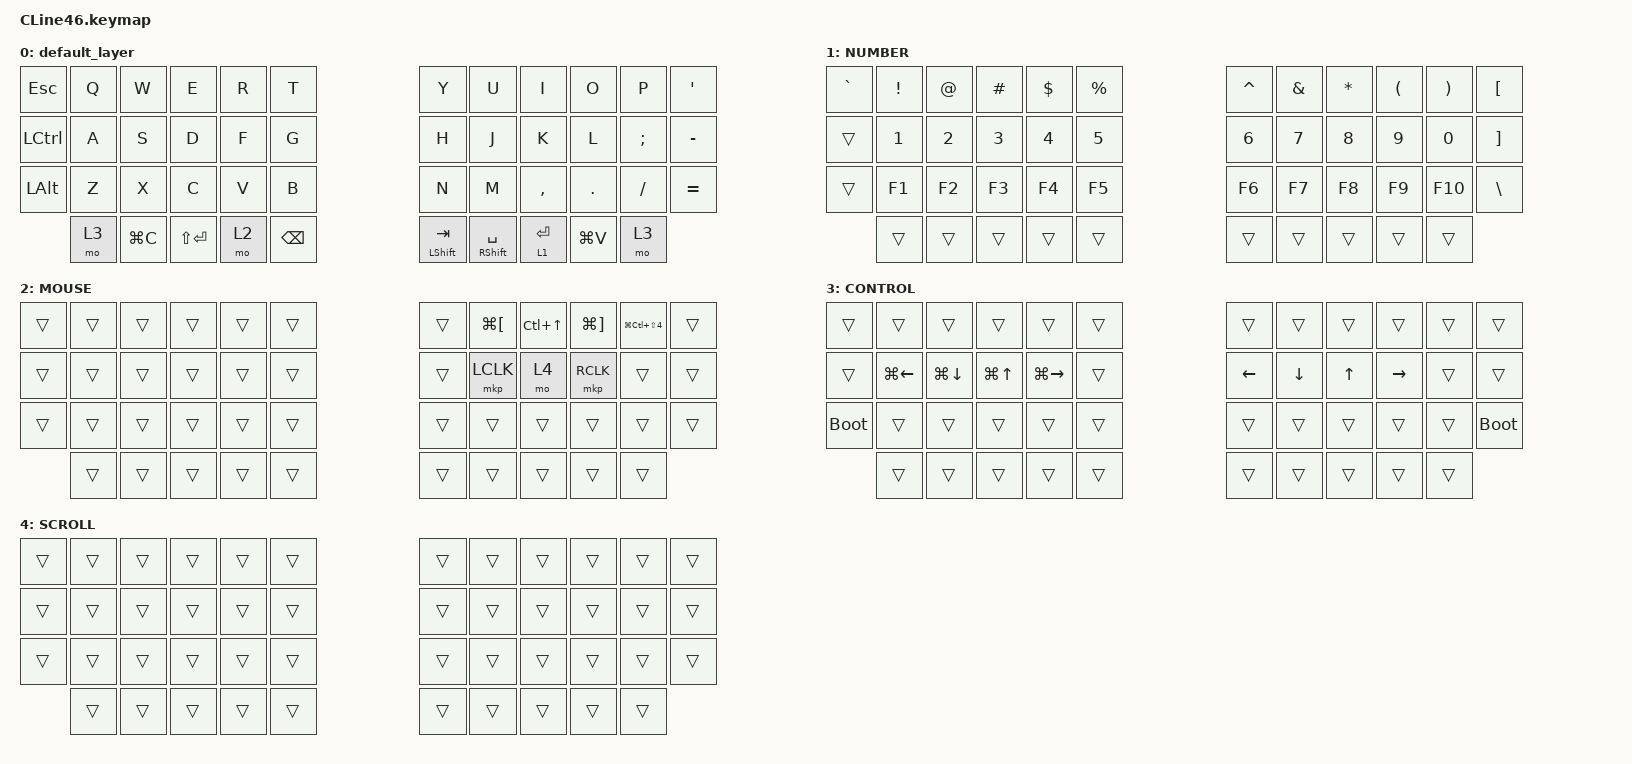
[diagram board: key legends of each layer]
#include <input/processors.dtsi>
#include <dt-bindings/zmk/input_transform.h>
#include <zephyr/dt-bindings/input/input-event-codes.h>
#include <behaviors.dtsi>
#include <dt-bindings/zmk/bt.h>
#include <dt-bindings/zmk/keys.h>
#include <dt-bindings/zmk/pointing.h>

&mt {
    flavor = "balanced";
    quick-tap-ms = <0>;
};

/ {
    combos {
        compatible = "zmk,combos";

        R_GUI {
            bindings = <&kp RIGHT_GUI>;
            key-positions = <19 20>;
        };

        L_GUI {
            bindings = <&kp LEFT_GUI>;
            key-positions = <16 15>;
        };

        BT0 {
            bindings = <&bt BT_SEL 0>;
            key-positions = <5 6>;
        };

        BT1 {
            bindings = <&bt BT_SEL 1>;
            key-positions = <17 18>;
        };

        BT2 {
            bindings = <&bt BT_SEL 2>;
            key-positions = <29 30>;
        };
    };

    behaviors {
        mt_d: mt_d {
            compatible = "zmk,behavior-hold-tap";
            label = "MT_D";
            bindings = <&kp>, <&kp>;

            #binding-cells = <2>;
            flavor = "balanced";
            quick-tap-ms = <175>;
            tapping-term-ms = <280>;
            require-prior-idle-ms = <150>;
        };
    };

    keymap {
        compatible = "zmk,keymap";

        default_layer {
            bindings = <
&kp ESC       &kp Q  &kp W      &kp E          &kp R  &kp T                                             &kp Y        &kp U  &kp I      &kp O      &kp P          &kp SQT
&kp LCTRL     &kp A  &kp S      &kp D          &kp F  &kp G                                             &kp H        &kp J  &kp K      &kp L      &kp SEMICOLON  &kp MINUS
&kp LEFT_ALT  &kp Z  &kp X      &kp C          &kp V  &kp B                                             &kp N        &kp M  &kp COMMA  &kp DOT    &kp SLASH      &kp EQUAL
              &mo 3  &kp LG(C)  &kp LS(ENTER)  &mo 2  &kp BACKSPACE  &mt LSHFT TAB    &mt RSHIFT SPACE  &lt 1 ENTER                    &kp LG(V)  &mo 3
            >;
        };

        NUMBER {
            bindings = <
&kp GRAVE  &kp EXCLAMATION  &kp AT_SIGN  &kp HASH  &kp DOLLAR  &kp PERCENT                    &kp CARET  &kp AMPERSAND  &kp ASTERISK  &kp LEFT_PARENTHESIS  &kp RIGHT_PARENTHESIS  &kp LEFT_BRACKET
&trans     &kp N1           &kp N2       &kp N3    &kp N4      &kp N5                         &kp N6     &kp N7         &kp N8        &kp N9                &kp N0                 &kp RIGHT_BRACKET
&trans     &kp F1           &kp F2       &kp F3    &kp F4      &kp F5                         &kp F6     &kp F7         &kp F8        &kp F9                &kp F10                &kp BACKSLASH
           &trans           &trans       &trans    &trans      &trans       &trans    &trans  &trans                                  &trans                &trans
            >;
        };

        MOUSE {
            bindings = <
&trans  &trans  &trans  &trans  &trans  &trans                    &trans  &kp LG(LEFT_BRACKET)  &kp LC(UP)  &kp LG(RIGHT_BRACKET)  &kp LG(LC(LS(NUMBER_4)))  &trans
&trans  &trans  &trans  &trans  &trans  &trans                    &trans  &mkp LCLK             &mo 4       &mkp RCLK              &trans                    &trans
&trans  &trans  &trans  &trans  &trans  &trans                    &trans  &trans                &trans      &trans                 &trans                    &trans
        &trans  &trans  &trans  &trans  &trans  &trans    &trans  &trans                                    &trans                 &trans
            >;
        };

        CONTROL {
            bindings = <
&trans       &trans              &trans        &trans            &trans         &trans                    &trans          &trans          &trans  &trans           &trans  &trans
&trans       &kp LG(LEFT_ARROW)  &kp LG(DOWN)  &kp LG(UP_ARROW)  &kp LG(RIGHT)  &trans                    &kp LEFT_ARROW  &kp DOWN_ARROW  &kp UP  &kp RIGHT_ARROW  &trans  &trans
&bootloader  &trans              &trans        &trans            &trans         &trans                    &trans          &trans          &trans  &trans           &trans  &bootloader
             &trans              &trans        &trans            &trans         &trans  &trans    &trans  &trans                                  &trans           &trans
            >;
        };

        SCROLL {
            bindings = <
&trans  &trans  &trans  &trans  &trans  &trans                    &trans  &trans  &trans  &trans  &trans  &trans
&trans  &trans  &trans  &trans  &trans  &trans                    &trans  &trans  &trans  &trans  &trans  &trans
&trans  &trans  &trans  &trans  &trans  &trans                    &trans  &trans  &trans  &trans  &trans  &trans
        &trans  &trans  &trans  &trans  &trans  &trans    &trans  &trans                  &trans  &trans
            >;
        };
    };
};
